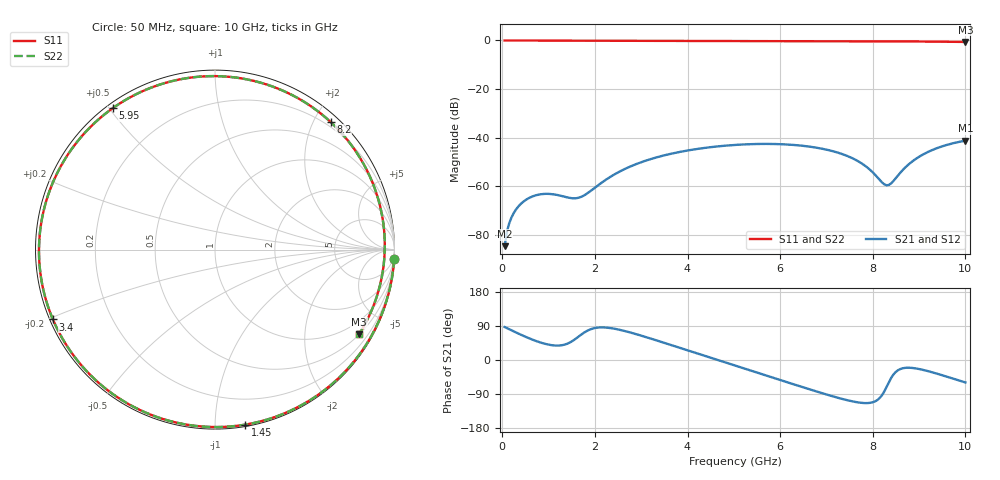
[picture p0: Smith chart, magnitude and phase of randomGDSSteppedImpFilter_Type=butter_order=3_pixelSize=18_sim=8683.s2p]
! freq	dB(S11)	phase(S11)	dB(S12)	phase(S12)
!  dB(S21)	phase(S21)	dB(S22)	phase(S22)
!S-par simulation data
#  GHz  S  DB  R 50
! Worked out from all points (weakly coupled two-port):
!   200 points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, 50 MHz to 10 GHz, reference 50 ohm
!   highest |S21| = -41.25 dB at 10 GHz (marker M1); lowest = -84.7 dB at 50 MHz (marker M2)
!   lowest |S11| = -0.6 dB at 10 GHz (marker M3), VSWR 27.85, Z = 25.6 - j180 ohm
!   |S11| at or under -10 dB: nowhere
!   |S22| runs from -0.6 to 0.0 dB; largest |S21 - S12| = 0
!   S11 on the Smith chart (normalised r, x): 50 MHz: 0, -38; 1.45 GHz: 0.01, -1.19; 3.4 GHz: 0.01, -0.21; 5.95 GHz: 0.02, +0.51; 8.2 GHz: 0.13, +2.25; 10 GHz: 0.51, -3.61
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0.05  -0.00 -3.0  -84.68 87.1  -84.68 87.1  -0.00 -3.0
0.1  -0.01 -6.0  -78.69 84.1  -78.69 84.1  -0.01 -6.0
0.15  -0.01 -9.0  -75.22 81.2  -75.22 81.2  -0.01 -9.0
0.25  -0.02 -14.9  -70.94 75.3  -70.94 75.3  -0.02 -14.9
0.55  -0.04 -32.4  -65.14 58.8  -65.14 58.8  -0.04 -32.4
0.95  -0.07 -54.7  -63.14 41.9  -63.14 41.9  -0.07 -54.7
1.45  -0.09 -80.2  -64.78 45.6  -64.78 45.6  -0.09 -80.2
1.75  -0.10 -94.2  -63.95 71.0  -63.95 71.0  -0.10 -94.2
2.6  -0.13 -128.9  -53.33 77.8  -53.33 77.8  -0.13 -128.9
3.4  -0.15 -156.7  -47.77 49.1  -47.77 49.1  -0.15 -156.7
4.2  -0.17 178.3  -44.69 17.7  -44.69 17.7  -0.17 178.3
5.05  -0.20 152.9  -42.98 -15.6  -42.98 -15.6  -0.20 152.9
5.95  -0.24 125.8  -42.66 -50.8  -42.66 -50.8  -0.24 125.8
6.7  -0.28 101.9  -43.89 -79.8  -43.89 -79.8  -0.28 101.9
7.6  -0.32 70.7  -48.85 -110.1  -48.85 -110.1  -0.32 70.6
7.9  -0.34 59.5  -52.58 -113.6  -52.58 -113.6  -0.34 59.4
8.2  -0.36 47.9  -58.44 -92.7  -58.44 -92.7  -0.36 47.8
8.35  -0.37 41.9  -59.45 -58.0  -59.45 -58.0  -0.37 41.9
8.75  -0.41 25.5  -51.42 -20.4  -51.42 -20.4  -0.41 25.5
9.05  -0.44 12.7  -47.31 -25.1  -47.31 -25.1  -0.44 12.6
9.55  -0.52 -9.6  -43.27 -42.1  -43.27 -42.1  -0.52 -9.6
10  -0.62 -30.5  -41.25 -59.2  -41.25 -59.2  -0.62 -30.4
